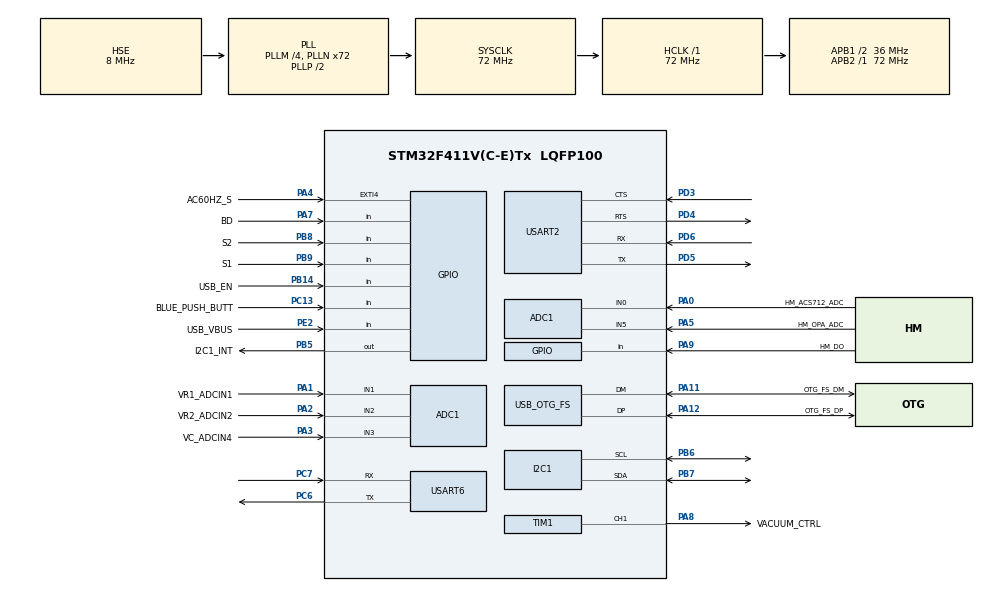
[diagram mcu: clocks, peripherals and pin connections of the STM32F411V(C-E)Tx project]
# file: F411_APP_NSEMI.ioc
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ADC1.Channel-4\#ChannelRegularConversion=ADC_CHANNEL_0
ADC1.ContinuousConvMode=ENABLE
ADC1.DMAContinuousRequests=ENABLE
ADC1.NbrOfConversionFlag=1
ADC1.Rank-4\#ChannelRegularConversion=1
ADC1.SamplingTime-4\#ChannelRegularConversion=ADC_SAMPLETIME_3CYCLES
ADC1.master=1
Dma.ADC1.0.Direction=DMA_PERIPH_TO_MEMORY
Dma.ADC1.0.FIFOMode=DMA_FIFOMODE_DISABLE
Dma.ADC1.0.Instance=DMA2_Stream0
Dma.ADC1.0.MemDataAlignment=DMA_MDATAALIGN_HALFWORD
Dma.ADC1.0.MemInc=DMA_MINC_ENABLE
Dma.ADC1.0.Mode=DMA_CIRCULAR
Dma.ADC1.0.PeriphDataAlignment=DMA_PDATAALIGN_HALFWORD
Dma.ADC1.0.PeriphInc=DMA_PINC_DISABLE
Dma.ADC1.0.Priority=DMA_PRIORITY_LOW
Dma.Request0=ADC1
Mcu.Family=STM32F4
Mcu.Name=STM32F411V(C-E)Tx
Mcu.Package=LQFP100
NVIC.DMA2_Stream0_IRQn=true\:0\:0\:false\:false\:true\:false\:true\:true
NVIC.OTG_FS_IRQn=true\:0\:0\:false\:false\:true\:false\:true\:true
NVIC.PriorityGroup=NVIC_PRIORITYGROUP_0
NVIC.TIM4_IRQn=true\:0\:0\:false\:false\:true\:true\:true\:true
PA0-WKUP.GPIO_Label=HM_ACS712_ADC
PA0-WKUP.Signal=ADCx_IN0
PA1.GPIO_Label=VR1_ADCIN1
PA1.Signal=ADCx_IN1
PA11.GPIO_Label=OTG_FS_DM
PA11.Mode=Device_Only
PA11.Signal=USB_OTG_FS_DM
PA12.GPIO_Label=OTG_FS_DP
PA12.Mode=Device_Only
PA12.Signal=USB_OTG_FS_DP
PA13.GPIO_Label=SWDIO
PA13.Mode=Serial_Wire
PA13.Signal=SYS_JTMS-SWDIO
PA14.GPIO_Label=SWCLK
PA14.Mode=Serial_Wire
PA14.Signal=SYS_JTCK-SWCLK
PA2.GPIO_Label=VR2_ADCIN2
PA2.Signal=ADCx_IN2
PA3.GPIO_Label=VC_ADCIN4
PA3.Signal=ADCx_IN3
PA4.GPIO_Label=AC60HZ_S
PA4.Signal=GPXTI4
PA5.GPIO_Label=HM_OPA_ADC
PA5.Signal=ADCx_IN5
PA7.GPIO_Label=BD
PA7.Signal=GPIO_Input
PA8.GPIO_Label=VACUUM_CTRL
PA8.Signal=S_TIM1_CH1
PA9.GPIO_Label=HM_DO
PA9.Signal=GPIO_Input
PB14.GPIO_Label=USB_EN
PB14.GPIO_PuPd=GPIO_PULLUP
PB14.Signal=GPIO_Input
PB3.GPIO_Label=SWO
PB3.Signal=SYS_JTDO-SWO
PB5.GPIO_Label=I2C1_INT
PB5.Signal=GPIO_Output
PB6.Mode=I2C
PB6.Signal=I2C1_SCL
PB7.Mode=I2C
PB7.Signal=I2C1_SDA
PB8.GPIO_Label=S2
PB8.Signal=GPIO_Input
PB9.GPIO_Label=S1
PB9.Signal=GPIO_Input
PC13-ANTI_TAMP.GPIO_Label=BLUE_PUSH_BUTT
PC13-ANTI_TAMP.Signal=GPIO_Input
PC6.Mode=Asynchronous
PC6.Signal=USART6_TX
PC7.Mode=Asynchronous
PC7.Signal=USART6_RX
PD3.Mode=CTS_RTS
PD3.Signal=USART2_CTS
PD4.Mode=CTS_RTS
PD4.Signal=USART2_RTS
PD5.Mode=Asynchronous
PD5.Signal=USART2_TX
PD6.Mode=Asynchronous
PD6.Signal=USART2_RX
PE2.GPIO_Label=USB_VBUS
PE2.Signal=GPIO_Input
PH0\ -\ OSC_IN.GPIO_Label=PH0-OSC_IN
PH0\ -\ OSC_IN.Mode=HSE-External-Oscillator
PH0\ -\ OSC_IN.Signal=RCC_OSC_IN
PH1\ -\ OSC_OUT.GPIO_Label=PH1-OSC_OUT
PH1\ -\ OSC_OUT.Mode=HSE-External-Oscillator
PH1\ -\ OSC_OUT.Signal=RCC_OSC_OUT
ProjectManager.HeapSize=0x200
ProjectManager.StackSize=0x400
ProjectManager.TargetToolchain=STM32CubeIDE
RCC.48MHZClocksFreq_Value=48000000
RCC.AHBFreq_Value=72000000
RCC.APB1CLKDivider=RCC_HCLK_DIV2
RCC.APB1Freq_Value=36000000
RCC.APB1TimFreq_Value=72000000
RCC.APB2Freq_Value=72000000
RCC.APB2TimFreq_Value=72000000
RCC.CortexFreq_Value=72000000
RCC.HCLKFreq_Value=72000000
RCC.HSE_VALUE=8000000
RCC.HSI_VALUE=16000000
RCC.LSE_VALUE=32768
RCC.PLLI2SM=5
RCC.PLLI2SN=200
RCC.PLLM=4
RCC.PLLN=72
RCC.PLLQ=3
RCC.SYSCLKFreq_VALUE=72000000
RCC.SYSCLKSource=RCC_SYSCLKSOURCE_PLLCLK
RCC.VCOOutputFreq_Value=144000000
SH.ADCx_IN0.0=ADC1_IN0,IN0
SH.ADCx_IN1.0=ADC1_IN1,IN1
SH.ADCx_IN2.0=ADC1_IN2,IN2
SH.ADCx_IN3.0=ADC1_IN3,IN3
SH.ADCx_IN5.0=ADC1_IN5,IN5
SH.S_TIM1_CH1.0=TIM1_CH1,PWM Generation1 CH1
TIM1.Channel-PWM\ Generation1\ CH1=TIM_CHANNEL_1
TIM1.Period=1000-1
TIM1.Prescaler=72-1
TIM1.Pulse-PWM\ Generation1\ CH1=500
TIM4.Period=1000-1
TIM4.Prescaler=72-1
USART2.VirtualMode=VM_ASYNC
USART6.VirtualMode=VM_ASYNC
USB_DEVICE.CLASS_NAME_FS=HID
USB_DEVICE.MANUFACTURER_STRING=EETI_HID_DEVICE
USB_DEVICE.PID_HID_FS=0xC000
USB_DEVICE.PRODUCT_STRING_HID_FS=EETI_HID_DEVICE
USB_DEVICE.VID=0x0EFF
USB_DEVICE.VirtualMode=Hid
USB_DEVICE.VirtualModeFS=Hid_FS
USB_OTG_FS.VirtualMode=Device_Only
VP_TIM1_VS_ClockSourceINT.Mode=Internal
VP_TIM4_VS_ClockSourceINT.Mode=Internal
VP_USB_DEVICE_VS_USB_DEVICE_HID_FS.Mode=HID_FS
board=STM32F411E-DISCO

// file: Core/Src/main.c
/* USER CODE BEGIN Header */
/**
  ******************************************************************************
  * @file           : main.c
  * @brief          : Main program body
  ******************************************************************************
  * @attention
  *
  * Copyright (c) 2025 STMicroelectronics.
  * All rights reserved.
  *
  * This software is licensed under terms that can be found in the LICENSE file
  * in the root directory of this software component.
  * If no LICENSE file comes with this software, it is provided AS-IS.
  *
  ******************************************************************************
  */
/* USER CODE END Header */
#include "main.h"
#include "adc.h"
#include "dma.h"
#include "i2c.h"
#include "tim.h"
#include "usart.h"
#include "usb_device.h"
#include "gpio.h"

/* USER CODE BEGIN Includes */
#include <stdio.h>
#include <string.h>
#include "acs712.h"
#include "current_monitor.h"
#include "ssd1306.h"
#include "ssd1306_fonts.h"
#include "handpiece.h"
/* USER CODE END Includes */

/* USER CODE BEGIN PV */
// 宣告 ACS712 和電流監控變數
//ACS712_Type_t acs712;
ACS712_Handle_t acs712;
Current_Monitor_t monitor;
/* USER CODE END PV */

void SystemClock_Config(void);

/* USER CODE BEGIN 0 */
int _write(int file, char *ptr, int len)
{
    // 使用 10ms 超時，失敗也返回成功
    HAL_UART_Transmit(DEBUG_UART_PORT, (uint8_t*)ptr, len, 10);
    return len;  // 總是返回成功
}

void Test_Current_Monitor_With_Filters(void);
void Menu_Selection(void);
void Test_Current_Monitor_With_Filters(void)
{
    // 初始化電流監控系統
    Current_Monitor_t monitor;
    ACS712_Handle_t acs712;

    // 初始化 ACS712
    ACS712_Init(&acs712, &hadc1, ACS712_05A);

    // 初始化電流監控器
    CurrentMonitor_Init(&monitor, &acs712);

    printf("\r\n=== 電流監控濾波器測試系統 ===\r\n");
    printf("初始化完成，開始測試...\r\n\r\n");

    // **執行濾波器測試**
    CurrentMonitor_TestFilters(&monitor);

    printf("\r\n=== 進入持續監控模式 ===\r\n");

    // **持續監控模式**
    while (1) {
        CurrentMonitor_Update(&monitor);

        // 每5秒顯示一次詳細資訊
        static uint32_t last_display = 0;
        if (HAL_GetTick() - last_display > 5000) {
            CurrentMonitor_Display(&monitor);
            last_display = HAL_GetTick();
        }

        HAL_Delay(100);
    }
}

/**
 * @brief  選單系統
 * @param  None
 * @retval None
 */
void Menu_Selection(void)
{
    printf("\r\n=== 測試選單 ===\r\n");
    printf("1. PWM 測試\r\n");
    printf("2. ADC 測試\r\n");
    printf("3. 電流監控濾波器測試\r\n");
    printf("4. 電流監控基本測試\r\n");
    printf("請選擇測試項目 (1-4):\r\n");

    // 這裡可以加入 UART 接收選擇邏輯
    // 暫時直接執行濾波器測試
    Test_Current_Monitor_With_Filters();
}
/* USER CODE END 0 */

int main(void)
{

  /* USER CODE BEGIN 1 */
    // 設置向量表到APP區域
  SCB->VTOR = 0x08008000;
  __disable_irq();
  /* USER CODE END 1 */

  /* MCU Configuration--------------------------------------------------------*/

  /* Reset of all peripherals, Initializes the Flash interface and the Systick. */
  HAL_Init();

  /* USER CODE BEGIN Init */
  __enable_irq();
  /* USER CODE END Init */

  /* Configure the system clock */
  SystemClock_Config();

  /* Initialize all configured peripherals */
  MX_GPIO_Init();
  MX_DMA_Init();
  MX_ADC1_Init();
  MX_I2C1_Init();
  MX_TIM1_Init();
  MX_USART2_UART_Init();
  MX_TIM4_Init();
  MX_USB_DEVICE_Init();
  MX_USART6_UART_Init();
  /* USER CODE BEGIN 2 */
  // 🔧 簡化測試：先測試基本功能
  printf("=== APP STARTED ===\r\n");

  // 測試 LED（PA5 是板載 LED）
  GPIO_InitTypeDef GPIO_InitStruct = {0};
  GPIO_InitStruct.Pin = HM_OPA_ADC_Pin;
  GPIO_InitStruct.Mode = GPIO_MODE_OUTPUT_PP;
  GPIO_InitStruct.Pull = GPIO_NOPULL;
  GPIO_InitStruct.Speed = GPIO_SPEED_FREQ_LOW;
  HAL_GPIO_Init(HM_OPA_ADC_GPIO_Port, &GPIO_InitStruct);
  HAL_GPIO_WritePin(HM_OPA_ADC_GPIO_Port, HM_OPA_ADC_Pin, GPIO_PIN_SET);
  HAL_Delay(500);
  HAL_GPIO_WritePin(HM_OPA_ADC_GPIO_Port, HM_OPA_ADC_Pin, GPIO_PIN_RESET);

  printf("LED Test completed\r\n");

  /* 初始化SSD1306 */
  char buf[32];
  printf("ssd1306_Init...\r\n");
  ssd1306_Init();

  ssd1306_Fill(Black);
  ssd1306_SetCursor(0, 0);
  ssd1306_WriteString("ACS712_Init...", Font_6x8, White);
  ssd1306_UpdateScreen();

  /* 初始化ACS712 */
  printf("ACS712_Init...\r\n");
  if (ACS712_Init(&acs712, &hadc1, ACS712_05A) != HAL_OK)
  {
	  printf("ACS712_Init Fail!!!\r\n");
      Error_Handler();
  }

  /* 校準ACS712 */
  //ssd1306_Fill(Black);
  ssd1306_SetCursor(0, 8);
  ssd1306_WriteString("Calibrating...", Font_6x8, White);
  ssd1306_UpdateScreen();

  printf("ACS712 Calibrating ...ADC to OFFSET\r\n");
  if (ACS712_Calibrate(&acs712) != HAL_OK)
  {
	  printf("ACS712 Calibrating FAIL!!!\r\n");
      Error_Handler();
  }

  /* 初始化電流監控器 */
  ssd1306_SetCursor(0, 16);
  ssd1306_WriteString("CurrentMonitor_Init...", Font_6x8, White);
  ssd1306_UpdateScreen();
  printf("CurrentMonitor_Init...\r\n");
  if (CurrentMonitor_Init(&monitor, &acs712) != HAL_OK)
  {
	  printf("CurrentMonitor_Init Fail!!!\r\n");
      Error_Handler();
  }
  HAL_Delay(300);

  printf("Zero offset: %.3f V\r\n", acs712.zero_offset);

  sprintf(buf, "Zero offset: %.3fV", acs712.zero_offset);
  ssd1306_Fill(Black);
  ssd1306_SetCursor(0, 0); // 設定顯示位置
  ssd1306_WriteString(buf, Font_6x8, White);
  ssd1306_UpdateScreen();
  HAL_Delay(100);

  // 執行校準
  CurrentMonitor_ManualCalibration(&monitor);

  CurrentMonitor_ResetStats(&monitor);

  HAL_Delay(100);

  while(1)
  {
  	CurrentMonitor_TestFilters(&monitor);

  }

  /* 主迴圈 */
  ssd1306_SetCursor(0, 16);
  ssd1306_WriteString("CurrentMonitor Start  ...", Font_6x8, White);
  ssd1306_UpdateScreen();
  printf("CurrentMonitor Start  ...\r\n");
  while (1)
  {
      CurrentMonitor_Update(&monitor);
      CurrentMonitor_Display(&monitor);
      CheckAutoReset(&monitor);  // 加入這行

      HAL_Delay(500);
  }

  uint32_t counter = 0;

  /* USER CODE END 2 */

  /* Infinite loop */
  /* USER CODE BEGIN WHILE */
  while (1)
  {
      // 簡單的 LED 閃爍測試
      HAL_GPIO_TogglePin(HM_OPA_ADC_GPIO_Port, HM_OPA_ADC_Pin);

      // 簡化的串口輸出
      printf("APP Running: %lu\r\n", counter++);

      //TestADC();
      TestADC_Averaging();
      HAL_Delay(1000);  // 改為 1 秒，更容易觀察
    /* USER CODE END WHILE */

  }
}

void SystemClock_Config(void)
{
  RCC_OscInitTypeDef RCC_OscInitStruct = {0};
  RCC_ClkInitTypeDef RCC_ClkInitStruct = {0};

  /* USER CODE BEGIN */
  // 🔧 先重置到默認狀態
  HAL_RCC_DeInit();
  /* USER CODE END */

  /** Configure the main internal regulator output voltage
  */
  __HAL_RCC_PWR_CLK_ENABLE();
  __HAL_PWR_VOLTAGESCALING_CONFIG(PWR_REGULATOR_VOLTAGE_SCALE1);

  /** Initializes the RCC Oscillators according to the specified parameters
  * in the RCC_OscInitTypeDef structure.
  */
  RCC_OscInitStruct.OscillatorType = RCC_OSCILLATORTYPE_HSE;
  RCC_OscInitStruct.HSEState = RCC_HSE_ON;
  RCC_OscInitStruct.PLL.PLLState = RCC_PLL_ON;
  RCC_OscInitStruct.PLL.PLLSource = RCC_PLLSOURCE_HSE;
  RCC_OscInitStruct.PLL.PLLM = 4;
  RCC_OscInitStruct.PLL.PLLN = 72;
  RCC_OscInitStruct.PLL.PLLP = RCC_PLLP_DIV2;
  RCC_OscInitStruct.PLL.PLLQ = 3;
  if (HAL_RCC_OscConfig(&RCC_OscInitStruct) != HAL_OK)
  {
    Error_Handler();
  }

  /** Initializes the CPU, AHB and APB buses clocks
  */
  RCC_ClkInitStruct.ClockType = RCC_CLOCKTYPE_HCLK|RCC_CLOCKTYPE_SYSCLK
                              |RCC_CLOCKTYPE_PCLK1|RCC_CLOCKTYPE_PCLK2;
  RCC_ClkInitStruct.SYSCLKSource = RCC_SYSCLKSOURCE_PLLCLK;
  RCC_ClkInitStruct.AHBCLKDivider = RCC_SYSCLK_DIV1;
  RCC_ClkInitStruct.APB1CLKDivider = RCC_HCLK_DIV2;
  RCC_ClkInitStruct.APB2CLKDivider = RCC_HCLK_DIV1;

  if (HAL_RCC_ClockConfig(&RCC_ClkInitStruct, FLASH_LATENCY_2) != HAL_OK)
  {
    Error_Handler();
  }
}

void Error_Handler(void)
{
  __disable_irq();
  while (1)
  {
  }
}
